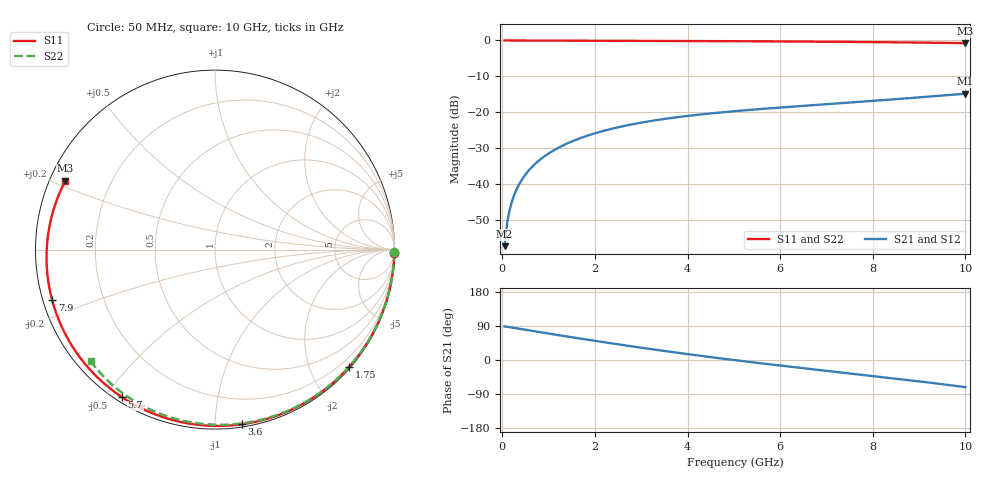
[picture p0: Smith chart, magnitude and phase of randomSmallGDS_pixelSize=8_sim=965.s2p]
! freq	dB(S11)	phase(S11)	dB(S12)	phase(S12)
!  dB(S21)	phase(S21)	dB(S22)	phase(S22)
!S-par simulation data
#  GHz  S  DB  R 50
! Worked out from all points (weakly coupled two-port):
!   200 points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, 50 MHz to 10 GHz, reference 50 ohm
!   highest |S21| = -14.87 dB at 10 GHz (marker M1); lowest = -57.4 dB at 50 MHz (marker M2)
!   lowest |S11| = -0.7 dB at 10 GHz (marker M3), VSWR 23.22, Z = 2.26 + j10.9 ohm
!   |S11| at or under -10 dB: nowhere
!   |S22| runs from -0.6 to 0.0 dB; largest |S21 - S12| = 0
!   S11 on the Smith chart (normalised r, x): 50 MHz: 0, -94; 1.75 GHz: 0.03, -2.66; 3.6 GHz: 0.02, -1.16; 5.7 GHz: 0.02, -0.55; 7.9 GHz: 0.03, -0.15; 10 GHz: 0.05, +0.22
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0.05  -0.00 -1.2  -57.42 88.6  -57.42 88.6  -0.00 -0.8
0.1  -0.00 -2.4  -51.35 87.6  -51.35 87.6  -0.00 -1.6
0.15  -0.00 -3.6  -47.81 86.7  -47.81 86.7  -0.00 -2.4
0.2  -0.01 -4.8  -45.32 85.8  -45.32 85.8  -0.00 -3.3
0.35  -0.01 -8.4  -40.49 82.8  -40.49 82.8  -0.01 -5.7
0.5  -0.02 -12.0  -37.42 79.8  -37.42 79.8  -0.01 -8.1
0.7  -0.02 -16.7  -34.55 75.7  -34.55 75.7  -0.02 -11.3
1  -0.03 -23.8  -31.54 69.8  -31.54 69.8  -0.02 -16.1
1.35  -0.05 -32.0  -29.06 62.9  -29.06 62.9  -0.03 -21.7
1.75  -0.06 -41.2  -26.97 55.3  -26.97 55.3  -0.04 -28.0
2.6  -0.09 -60.2  -23.95 39.5  -23.95 39.5  -0.07 -41.1
3.4  -0.13 -77.2  -22.09 25.5  -22.09 25.5  -0.10 -53.1
3.6  -0.13 -81.3  -21.72 22.1  -21.72 22.1  -0.10 -56.0
4.3  -0.17 -95.5  -20.63 10.7  -20.63 10.7  -0.13 -66.1
5.05  -0.21 -110.0  -19.70 -0.8  -19.70 -0.8  -0.16 -76.5
5.7  -0.25 -122.2  -19.02 -10.4  -19.02 -10.4  -0.19 -85.2
6.7  -0.33 -140.7  -18.08 -24.4  -18.08 -24.4  -0.25 -98.1
7.3  -0.38 -151.7  -17.53 -32.6  -17.53 -32.6  -0.30 -105.7
7.9  -0.45 -162.8  -16.97 -40.8  -16.97 -40.8  -0.35 -113.0
8.35  -0.50 -171.3  -16.54 -47.1  -16.54 -47.1  -0.40 -118.5
9.2  -0.62 172.0  -15.69 -59.3  -15.69 -59.3  -0.50 -128.6
10  -0.75 155.3  -14.87 -71.7  -14.87 -71.7  -0.62 -138.0
